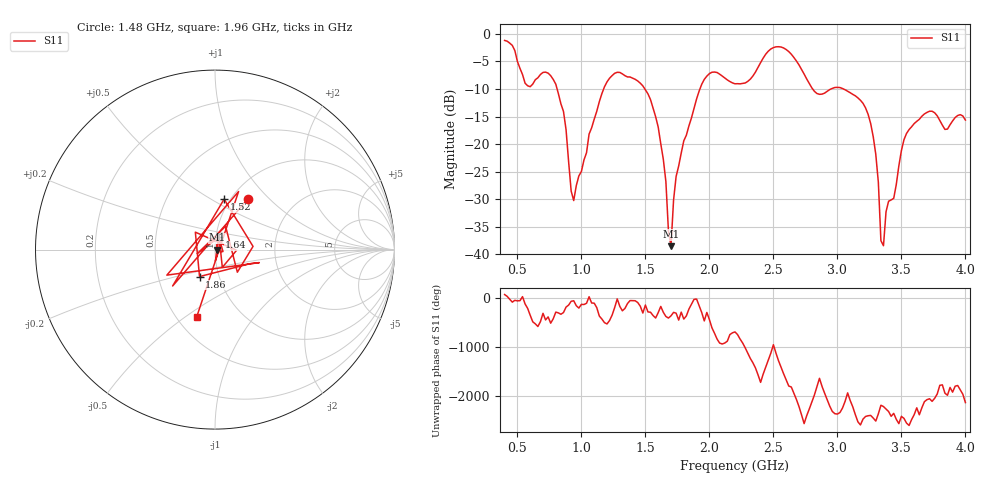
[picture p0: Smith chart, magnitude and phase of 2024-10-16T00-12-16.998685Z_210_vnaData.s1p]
! Created with skrf (http://scikit-rf.org).
# Hz S RI R 50.0
!freq ReS11 ImS11
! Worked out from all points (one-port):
!   181 points, 400 MHz to 4 GHz, reference 50 ohm
!   lowest |S11| = -38.5 dB at 1.7 GHz (marker M1), VSWR 1.02, Z = 51.2 - j0.019 ohm
!   |S11| at or under -10 dB: 810.3 MHz to 1.174 GHz (363.3 MHz wide, 36.6 % of centre); 1.496 GHz to 1.926 GHz (429.7 MHz wide, 25.1 % of centre); 3.048 GHz to end of sweep (the widest 3 of 4)
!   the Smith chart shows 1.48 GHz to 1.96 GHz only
!   S11 on the Smith chart (normalised r, x): 1.48 GHz: 1.19, +0.76; 1.52 GHz: 0.94, +0.57; 1.64 GHz: 1.04, +0.14; 1.86 GHz: 0.81, -0.25; 1.96 GHz: 0.63, -0.55
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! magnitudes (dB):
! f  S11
! 400 MHz  -1.2
! 580 MHz  -9.4
! 760 MHz  -7.6
! 860 MHz  -14.1
! 940 MHz  -30.2
! 1.16 GHz  -10.8
! 1.3 GHz  -7.0
! 1.48 GHz  -9.4
! 1.52 GHz  -10.9
! 1.64 GHz  -22.8
! 1.7 GHz  -38.5
! 1.72 GHz  -30.2
! 1.76 GHz  -24.0
! 1.86 GHz  -15.2
! 1.96 GHz  -8.3
! 2.2 GHz  -9.1
! 2.5 GHz  -2.5
! 2.66 GHz  -4.3
! 2.84 GHz  -10.8
! 3.1 GHz  -10.7
! 3.26 GHz  -16.3
! 3.32 GHz  -27.0
! 3.34 GHz  -37.5
! 3.36 GHz  -38.5
! 3.38 GHz  -32.3
! 3.56 GHz  -17.4
! 3.72 GHz  -14.0
! 4 GHz  -15.6
